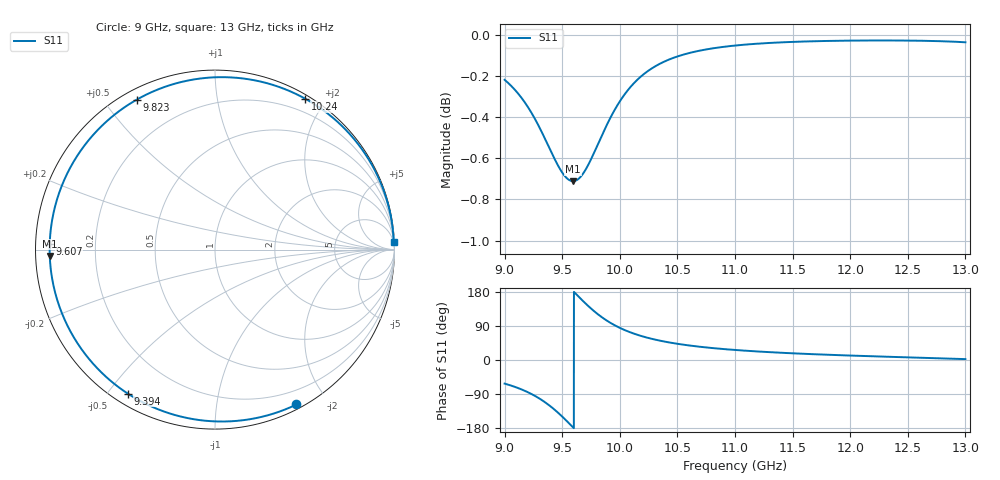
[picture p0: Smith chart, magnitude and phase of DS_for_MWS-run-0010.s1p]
! TOUCHSTONE file generated by CST DESIGN STUDIO
! Date and time: Tue Feb  4 12:46:58 2025
! Project name: C:\Work\MatlabApps\UnitCellOptimizationMatlab\CST\unitcell.cst
! Tree item: Tasks\Sweep1\SPara1\S-Parameters
! Header version: 2024
! Port assignment regex: !\s*Touchstone port\s*([0-9]+)\s*=\s*(CST MWS port|CST DES external port|CST DES block port)\s*(.+)\s* \(\"(.*)\"\)(\s*mode\s*([0-9]+))?.*
! Touchstone port assignment:
! Touchstone port 1 = CST DES external port 1 ("")
# GHz S MA R 50
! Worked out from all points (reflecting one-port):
!   4001 points, 9 GHz to 13 GHz, reference 50 ohm
!   lowest |S11| = -0.7 dB at 9.594 GHz (marker M1), VSWR 24.43, Z = 2.05 - j0.961 ohm
!   phase of S11 starts at -62 deg and turns -295 deg over the sweep
!   S11 on the Smith chart (normalised r, x): 9 GHz: 0.05, -1.66; 9.394 GHz: 0.04, -0.56; 9.607 GHz: 0.04, +0.02; 9.823 GHz: 0.04, +0.60; 10.24 GHz: 0.04, +1.76; 13 GHz: 5, +48
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9  0.9751 -62.2
9.051  0.9722 -67.0
9.121  0.9674 -74.5
9.242  0.9564 -91.2
9.323  0.947 -105.7
9.394  0.9379 -121.2
9.447  0.9313 -134.5
9.5  0.9258 -149.3
9.549  0.9224 -163.9
9.594  0.9214 -177.8
9.607  0.9214 178.2
9.662  0.9238 161.2
9.723  0.9295 143.3
9.773  0.9356 129.8
9.823  0.9424 117.6
9.862  0.9476 109.1
9.904  0.9529 100.7
10  0.9634 84.8
10.112  0.9726 70.7
10.236  0.9796 59.1
10.358  0.9843 50.4
10.5  0.988 42.7
10.72  0.9915 34.1
11  0.994 26.5
11.5  0.996 17.7
12  0.9968 11.7
12.5  0.9968 7.0
13  0.9958 2.3
